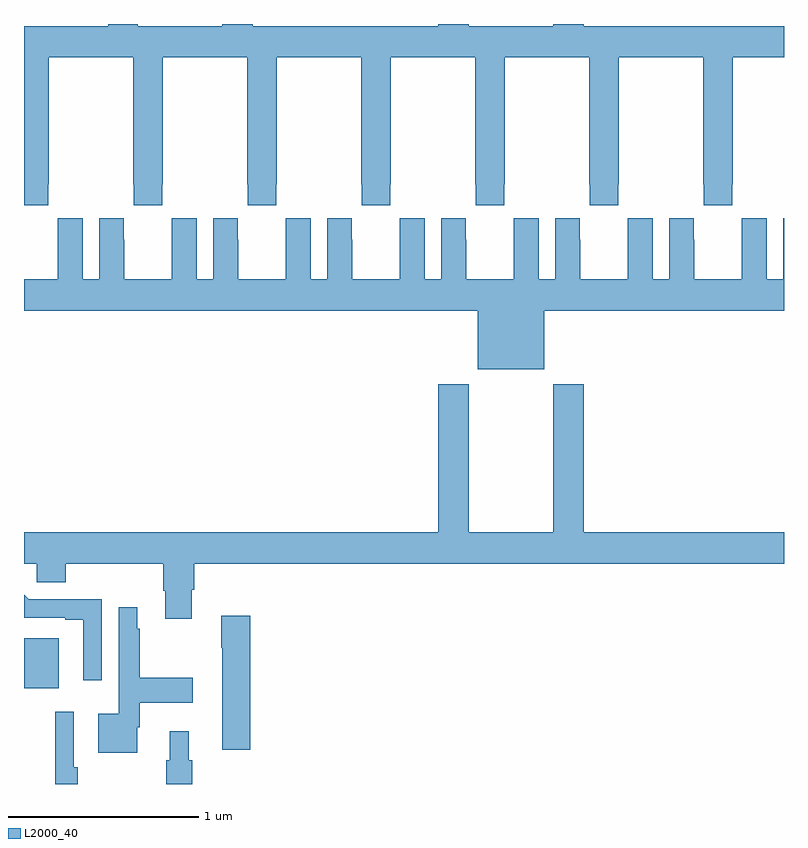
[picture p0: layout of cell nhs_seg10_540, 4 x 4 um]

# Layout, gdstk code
import gdstk
lib = gdstk.Library(unit=1e-6, precision=1e-09)
def R(c, l, rs):  # rectangles x0, y0, x1, y1
    for r in rs: c.add(gdstk.rectangle(r[:2], r[2:], *l))
def P(c, l, *ps):  # polygons
    for p in ps: c.add(gdstk.Polygon(p, *l))
L2000_40 = (2000, 40)

nhs_seg10_540 = lib.new_cell('nhs_seg10_540')
R(nhs_seg10_540, L2000_40, [(137,1289.003,137.182,1289.266)])
P(nhs_seg10_540, L2000_40, [(137.127,1291.657),(137.13,1291.657),(137.13,1292.324),(137.575,1292.324),(137.575,1291.657),(137.577,1291.657),(137.577,1291.545),(137.727,1291.545),(137.727,1291.657),(137.73,1291.657),(137.73,1292.324),(138.175,1292.324),(138.175,1291.657),(138.177,1291.657),(138.177,1291.545),(138.327,1291.545),(138.327,1291.657),(138.33,1291.657),(138.33,1292.324),(138.775,1292.324),(138.775,1291.657),(138.777,1291.657),(138.777,1291.545),(138.927,1291.545),(138.927,1291.657),(138.93,1291.657),(138.93,1292.324),(139.375,1292.324),(139.375,1291.657),(139.377,1291.657),(139.377,1291.545),(139.527,1291.545),(139.527,1291.657),(139.53,1291.657),(139.53,1292.324),(139.975,1292.324),(139.975,1291.657),(139.977,1291.657),(139.977,1291.545),(140.127,1291.545),(140.127,1291.657),(140.13,1291.657),(140.13,1292.324),(140.575,1292.324),(140.575,1291.657),(140.577,1291.657),(140.577,1291.545),(140.727,1291.545),(140.727,1291.657),(140.73,1291.657),(140.73,1292.324),(141,1292.324),(141,1292.488),(139.946,1292.488),(139.946,1292.5),(139.786,1292.5),(139.786,1292.488),(139.341,1292.488),(139.341,1292.5),(139.181,1292.5),(139.181,1292.488),(138.203,1292.488),(138.203,1292.5),(138.043,1292.5),(138.043,1292.488),(137.598,1292.488),(137.598,1292.5),(137.443,1292.5),(137.443,1292.488),(137,1292.488),(137,1291.545),(137.127,1291.545)],
  [(139.738,1290.992),(141,1290.992),(141,1291.477),(140.996,1291.477),(140.996,1291.156),(140.908,1291.156),(140.908,1291.477),(140.778,1291.477),(140.778,1291.364),(140.777,1291.364),(140.777,1291.156),(140.527,1291.156),(140.527,1291.364),(140.526,1291.364),(140.526,1291.477),(140.396,1291.477),(140.396,1291.156),(140.308,1291.156),(140.308,1291.477),(140.178,1291.477),(140.178,1291.364),(140.177,1291.364),(140.177,1291.156),(139.927,1291.156),(139.927,1291.364),(139.926,1291.364),(139.926,1291.477),(139.796,1291.477),(139.796,1291.156),(139.708,1291.156),(139.708,1291.477),(139.578,1291.477),(139.578,1291.364),(139.577,1291.364),(139.577,1291.156),(139.327,1291.156),(139.327,1291.364),(139.326,1291.364),(139.326,1291.477),(139.196,1291.477),(139.196,1291.156),(139.108,1291.156),(139.108,1291.477),(138.978,1291.477),(138.978,1291.364),(138.977,1291.364),(138.977,1291.156),(138.727,1291.156),(138.727,1291.364),(138.726,1291.364),(138.726,1291.477),(138.596,1291.477),(138.596,1291.156),(138.508,1291.156),(138.508,1291.477),(138.378,1291.477),(138.378,1291.364),(138.377,1291.364),(138.377,1291.156),(138.127,1291.156),(138.127,1291.364),(138.126,1291.364),(138.126,1291.477),(137.996,1291.477),(137.996,1291.156),(137.908,1291.156),(137.908,1291.477),(137.778,1291.477),(137.778,1291.364),(137.777,1291.364),(137.777,1291.156),(137.527,1291.156),(137.527,1291.364),(137.526,1291.364),(137.526,1291.477),(137.396,1291.477),(137.396,1291.156),(137.308,1291.156),(137.308,1291.477),(137.178,1291.477),(137.178,1291.364),(137.177,1291.364),(137.177,1291.156),(137,1291.156),(137,1290.992),(139.388,1290.992),(139.388,1290.683),(139.738,1290.683)],
  [(137.884,1289.523),(137.897,1289.523),(137.897,1289.66),(141,1289.66),(141,1289.824),(139.946,1289.824),(139.946,1290.604),(139.786,1290.604),(139.786,1289.824),(139.341,1289.824),(139.341,1290.604),(139.181,1290.604),(139.181,1289.824),(137,1289.824),(137,1289.66),(137.067,1289.66),(137.067,1289.562),(137.219,1289.562),(137.219,1289.66),(137.732,1289.66),(137.732,1289.518),(137.744,1289.518),(137.744,1289.37),(137.884,1289.37)],
  [(137.409,1289.472),(137.025,1289.472),(137,1289.497),(137,1289.376),(137.216,1289.376),(137.216,1289.364),(137.312,1289.364),(137.312,1289.046),(137.409,1289.046)],
  [(137.596,1288.8),(137.608,1288.8),(137.608,1288.928),(137.887,1288.928),(137.887,1289.058),(137.608,1289.058),(137.608,1289.318),(137.596,1289.318),(137.596,1289.431),(137.499,1289.431),(137.499,1288.87),(137.39,1288.87),(137.39,1288.664),(137.596,1288.664)],
  [(138.191,1289.386),(138.037,1289.386),(138.037,1289.216),(138.044,1289.216),(138.044,1288.68),(138.191,1288.68)],
  [(137.282,1288.588),(137.262,1288.588),(137.262,1288.879),(137.165,1288.879),(137.165,1288.5),(137.282,1288.5)],
  [(137.885,1288.626),(137.866,1288.626),(137.866,1288.777),(137.768,1288.777),(137.768,1288.626),(137.749,1288.626),(137.749,1288.5),(137.885,1288.5)])

lib.write_gds('nhs_seg10_540.gds')
